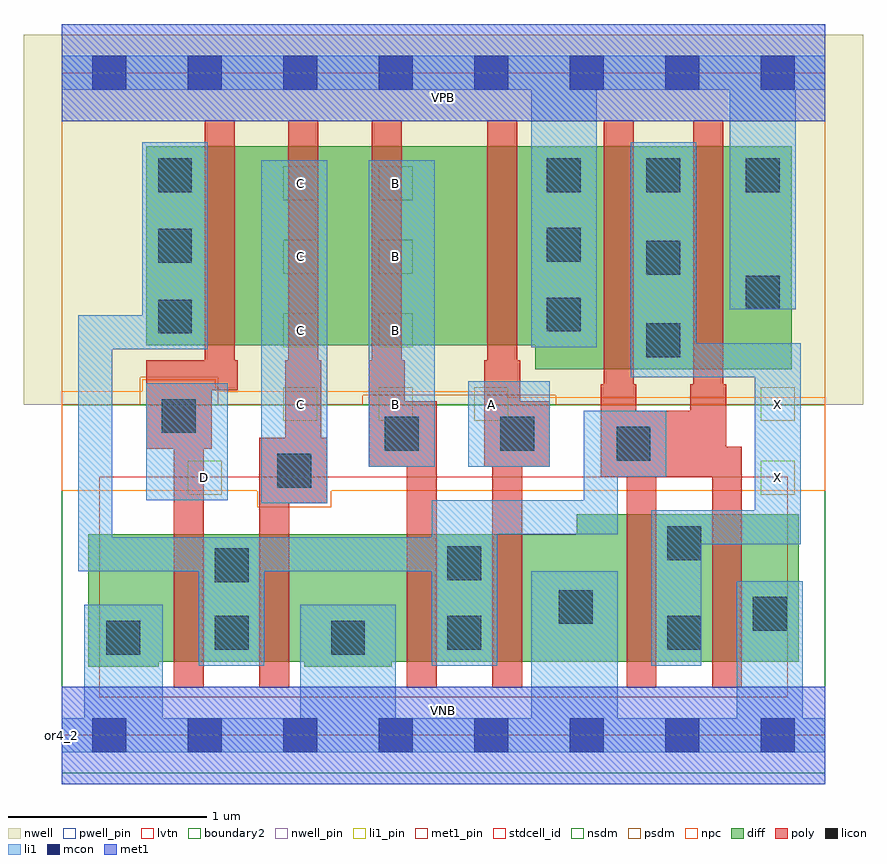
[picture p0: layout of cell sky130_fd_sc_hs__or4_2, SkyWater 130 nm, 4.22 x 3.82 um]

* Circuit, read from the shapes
.subckt sky130_fd_sc_hs__or4_2 A B C D VGND VNB VPB VPWR X
XM1 n1 D VGND VNB sky130_fd_pr__nfet_01v8_lvt w=0.64 l=0.15
XM2 VGND C n1 VNB sky130_fd_pr__nfet_01v8_lvt w=0.64 l=0.15
XM3 n1 B VGND VNB sky130_fd_pr__nfet_01v8_lvt w=0.64 l=0.15
XM4 VGND A n1 VNB sky130_fd_pr__nfet_01v8_lvt w=0.64 l=0.15
XM5 X n1 VGND VNB sky130_fd_pr__nfet_01v8_lvt w=0.74 l=0.15 m=2
XM6 n2 D n1 VPB sky130_fd_pr__pfet_01v8 w=1 l=0.15
XM7 n3 C n2 VPB sky130_fd_pr__pfet_01v8 w=1 l=0.15
XM8 n4 B n3 VPB sky130_fd_pr__pfet_01v8 w=1 l=0.15
XM9 VPWR A n4 VPB sky130_fd_pr__pfet_01v8 w=1 l=0.15
XM10 X n1 VPWR VPB sky130_fd_pr__pfet_01v8 w=1.12 l=0.15 m=2
.ends

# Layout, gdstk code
import gdstk
lib = gdstk.Library(unit=1e-6, precision=1e-09)
def R(c, l, rs):  # rectangles x0, y0, x1, y1
    for r in rs: c.add(gdstk.rectangle(r[:2], r[2:], *l))
def A(c, l, x, y, w, h, nx, ny, dx, dy):  # array of equal rectangles
    R(c, l, [(x+i*dx, y+j*dy, x+i*dx+w, y+j*dy+h) for i in range(nx) for j in range(ny)])
def P(c, l, *ps):  # polygons
    for p in ps: c.add(gdstk.Polygon(p, *l))
nwell_pin = (64, 16)
nwell = (64, 20)
diff = (65, 20)
poly = (66, 20)
licon = (66, 44)
li1_pin = (67, 16)
li1 = (67, 20)
mcon = (67, 44)
met1_pin = (68, 16)
met1 = (68, 20)
stdcell_id = (81, 4)
nsdm = (93, 44)
psdm = (94, 20)
npc = (95, 20)
pwell_pin = (122, 16)
lvtn = (125, 44)
boundary2 = (236, 0)

sky130_fd_sc_hs__or4_2 = lib.new_cell('sky130_fd_sc_hs__or4_2')
R(sky130_fd_sc_hs__or4_2, nwell_pin, [(0,3.085,3.84,3.33)])
R(sky130_fd_sc_hs__or4_2, nwell, [(-0.19,1.66,4.03,3.52)])
P(sky130_fd_sc_hs__or4_2, diff, [(3.67,2.96),(0.425,2.96),(0.425,1.96),(2.38,1.96),(2.38,1.84),(3.67,1.84)],
  [(3.705,1.11),(2.59,1.11),(2.59,1.01),(0.135,1.01),(0.135,0.345),(0.49,0.345),(0.49,0.37),(1.22,0.37),(1.22,0.345),(1.66,0.345),(1.66,0.37),(3.705,0.37)])
P(sky130_fd_sc_hs__or4_2, poly, [(3.42,1.45),(3.34,1.45),(3.34,1.765),(3.325,1.765),(3.325,3.09),(3.175,3.09),(3.175,1.765),(3.16,1.765),(3.16,1.63),(2.89,1.63),(2.89,1.765),(2.875,1.765),(2.875,3.09),(2.725,3.09),(2.725,1.765),(2.71,1.765),(2.71,1.3),(2.84,1.3),(2.84,0.24),(2.99,0.24),(2.99,1.3),(3.27,1.3),(3.27,0.24),(3.42,0.24)],
  [(2.455,1.68),(2.305,1.68),(2.305,1.885),(2.29,1.885),(2.29,3.09),(2.14,3.09),(2.14,1.885),(2.125,1.885),(2.125,1.35),(2.165,1.35),(2.165,0.24),(2.315,0.24),(2.315,1.35),(2.455,1.35)],
  [(1.885,1.68),(1.725,1.68),(1.725,1.885),(1.71,1.885),(1.71,3.09),(1.56,3.09),(1.56,1.885),(1.545,1.885),(1.545,1.35),(1.735,1.35),(1.735,0.24),(1.885,0.24)],
  [(1.335,1.495),(1.305,1.495),(1.305,1.885),(1.29,1.885),(1.29,3.09),(1.14,3.09),(1.14,1.885),(1.125,1.885),(1.125,1.495),(0.995,1.495),(0.995,0.24),(1.145,0.24),(1.145,1.165),(1.335,1.165)],
  [(0.885,1.885),(0.87,1.885),(0.87,3.09),(0.72,3.09),(0.72,1.885),(0.425,1.885),(0.425,1.44),(0.565,1.44),(0.565,0.24),(0.715,0.24),(0.715,1.44),(0.755,1.44),(0.755,1.735),(0.885,1.735)])
A(sky130_fd_sc_hs__or4_2, licon, 0.485, 2.02, 0.17, 0.17, 1, 3, 0, 0.355)
A(sky130_fd_sc_hs__or4_2, licon, 2.44, 2.73, 0.17, 0.17, 3, 1, 0.5, 0)
R(sky130_fd_sc_hs__or4_2, licon, [(0.225,0.405,0.395,0.575), (1.355,0.405,1.525,0.575), (0.77,0.43,0.94,0.6), (1.94,0.43,2.11,0.6), (3.045,0.43,3.215,0.6), (3.475,0.525,3.645,0.695), (2.5,0.56,2.67,0.73), (0.77,0.77,0.94,0.94), (1.94,0.78,2.11,0.95), (3.045,0.88,3.215,1.05), (1.085,1.245,1.255,1.415), (2.79,1.38,2.96,1.55), (1.625,1.43,1.795,1.6), (2.205,1.43,2.375,1.6), (0.505,1.52,0.675,1.69), (2.94,1.9,3.11,2.07), (2.44,2.03,2.61,2.2), (3.44,2.14,3.61,2.31), (2.94,2.315,3.11,2.485), (2.44,2.38,2.61,2.55)])
A(sky130_fd_sc_hs__or4_2, li1_pin, 1.115, 1.58, 0.17, 0.17, 3, 1, 0.48, 0)
A(sky130_fd_sc_hs__or4_2, li1_pin, 1.115, 1.95, 0.17, 0.17, 1, 3, 0, 0.37)
A(sky130_fd_sc_hs__or4_2, li1_pin, 1.595, 1.95, 0.17, 0.17, 1, 3, 0, 0.37)
R(sky130_fd_sc_hs__or4_2, li1_pin, [(0.635,1.21,0.805,1.38), (3.515,1.21,3.685,1.38), (3.515,1.58,3.685,1.75)])
R(sky130_fd_sc_hs__or4_2, li1, [(1.005,1.165,1.335,2.89), (0.425,1.18,0.835,1.77), (1.545,1.35,1.875,2.89), (2.045,1.35,2.455,1.78)])
P(sky130_fd_sc_hs__or4_2, li1, [(0,-0.085),(0,0.085),(0.115,0.085),(0.115,0.655),(0.51,0.655),(0.51,0.085),(1.2,0.085),(1.2,0.655),(1.68,0.655),(1.68,0.085),(2.36,0.085),(2.36,0.825),(2.795,0.825),(2.795,0.085),(3.395,0.085),(3.395,0.775),(3.725,0.775),(3.725,0.085),(3.84,0.085),(3.84,-0.085)],
  [(0,3.245),(0,3.415),(3.84,3.415),(3.84,3.245),(3.69,3.245),(3.69,2.14),(3.36,2.14),(3.36,3.245),(2.69,3.245),(2.69,1.95),(2.36,1.95),(2.36,3.245)],
  [(3.485,1.13),(3.485,1.8),(2.86,1.8),(2.86,2.98),(3.19,2.98),(3.19,1.97),(3.715,1.97),(3.715,0.96),(3.215,0.96),(3.215,0.35),(2.965,0.35),(2.965,1.13)],
  [(2.795,1.01),(2.19,1.01),(2.19,0.35),(1.86,0.35),(1.86,0.825),(1.02,0.825),(1.02,0.35),(0.69,0.35),(0.69,0.825),(0.085,0.825),(0.085,2.11),(0.405,2.11),(0.405,2.98),(0.735,2.98),(0.735,1.94),(0.255,1.94),(0.255,0.995),(1.86,0.995),(1.86,1.18),(2.625,1.18),(2.625,1.63),(3.04,1.63),(3.04,1.3),(2.795,1.3)])
A(sky130_fd_sc_hs__or4_2, mcon, 0.155, -0.085, 0.17, 0.17, 8, 2, 0.48, 3.33)
R(sky130_fd_sc_hs__or4_2, met1_pin, [(0,0,3.84,0.245), (0,3.085,3.84,3.33)])
R(sky130_fd_sc_hs__or4_2, met1, [(0,-0.245,3.84,0.245), (0,3.085,3.84,3.575)])
R(sky130_fd_sc_hs__or4_2, stdcell_id, [(0,0,3.84,3.33)])
R(sky130_fd_sc_hs__or4_2, nsdm, [(0,-0.19,3.84,1.66)])
P(sky130_fd_sc_hs__or4_2, psdm, [(3.84,3.52),(0,3.52),(0,1.66),(0.395,1.66),(0.395,1.8),(0.785,1.8),(0.785,1.66),(1.515,1.66),(1.515,1.71),(2.485,1.71),(2.485,1.66),(3.84,1.66)])
P(sky130_fd_sc_hs__or4_2, npc, [(3.84,1.7),(2.24,1.7),(2.24,1.73),(0.775,1.73),(0.775,1.79),(0.405,1.79),(0.405,1.73),(0,1.73),(0,1.23),(0.985,1.23),(0.985,1.145),(1.355,1.145),(1.355,1.23),(3.84,1.23)])
R(sky130_fd_sc_hs__or4_2, pwell_pin, [(0,0,3.84,0.245)])
R(sky130_fd_sc_hs__or4_2, lvtn, [(0.19,0.19,3.65,1.3)])
R(sky130_fd_sc_hs__or4_2, boundary2, [(0,0,3.84,3.33)])
sky130_fd_sc_hs__or4_2.add(gdstk.Label('or4_2', (0,0), layer=83, texttype=44))
sky130_fd_sc_hs__or4_2.add(gdstk.Label('VNB', (1.92,0.123), layer=64, texttype=59))
sky130_fd_sc_hs__or4_2.add(gdstk.Label('VPB', (1.92,3.208), layer=64, texttype=5))
sky130_fd_sc_hs__or4_2.add(gdstk.Label('VPWR', (1.92,3.208), layer=68, texttype=5))
sky130_fd_sc_hs__or4_2.add(gdstk.Label('VGND', (1.92,0.123), layer=68, texttype=5))
sky130_fd_sc_hs__or4_2.add(gdstk.Label('X', (3.6,1.295), layer=67, texttype=5))
sky130_fd_sc_hs__or4_2.add(gdstk.Label('X', (3.6,1.665), layer=67, texttype=5))
sky130_fd_sc_hs__or4_2.add(gdstk.Label('D', (0.72,1.295), layer=67, texttype=5))
sky130_fd_sc_hs__or4_2.add(gdstk.Label('A', (2.16,1.665), layer=67, texttype=5))
sky130_fd_sc_hs__or4_2.add(gdstk.Label('B', (1.68,1.665), layer=67, texttype=5))
sky130_fd_sc_hs__or4_2.add(gdstk.Label('B', (1.68,2.035), layer=67, texttype=5))
sky130_fd_sc_hs__or4_2.add(gdstk.Label('B', (1.68,2.405), layer=67, texttype=5))
sky130_fd_sc_hs__or4_2.add(gdstk.Label('B', (1.68,2.775), layer=67, texttype=5))
sky130_fd_sc_hs__or4_2.add(gdstk.Label('C', (1.2,1.665), layer=67, texttype=5))
sky130_fd_sc_hs__or4_2.add(gdstk.Label('C', (1.2,2.035), layer=67, texttype=5))
sky130_fd_sc_hs__or4_2.add(gdstk.Label('C', (1.2,2.405), layer=67, texttype=5))
sky130_fd_sc_hs__or4_2.add(gdstk.Label('C', (1.2,2.775), layer=67, texttype=5))

lib.write_gds('sky130_fd_sc_hs__or4_2.gds')
